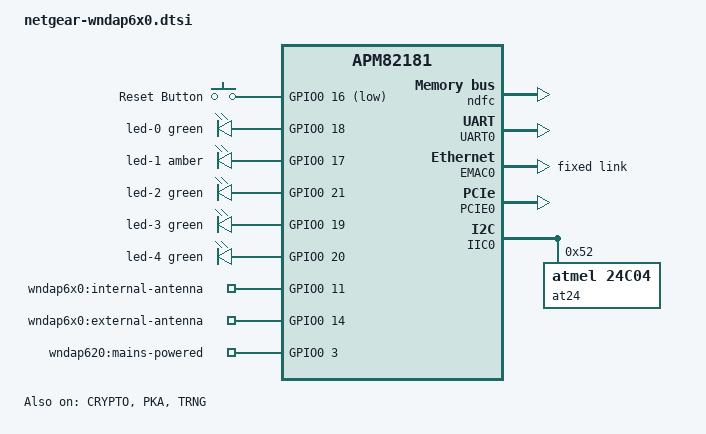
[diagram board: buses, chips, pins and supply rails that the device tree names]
// SPDX-License-Identifier: GPL-2.0-only
/*
 * Device Tree Source for Netgear WNDAP620 and WNDAP660
 */

#include <dt-bindings/leds/common.h>
#include "apm82181.dtsi"

/ {
	aliases {
		serial0 = &UART0;
	};

	chosen {
		stdout-path = "/plb/opb/serial@ef600300";
	};
};

&CRYPTO {
	status = "okay";
};

&PKA {
	status = "okay";
};

&TRNG {
	status = "okay";
};

&ndfc {
	status = "okay";
	/* 32 MiB SLC NAND Flash */

	nand {
		nand-is-boot-medium;

		partitions {
			compatible = "fixed-partitions";
			#address-cells = <1>;
			#size-cells = <1>;

			partition@0 {
				label = "u-boot";
				reg = <0x00000000 0x00100000>;
				read-only;
			};

			partition@100000 {
				label = "u-boot-env";
				reg = <0x00100000 0x0004000>;
				read-only;

				nvmem-layout {
					compatible = "u-boot,env";

					ethaddr {
					};

					bootcmd {
					};

					serno {
					};

					ProductID {
					};

					HardwareVer {
					};
				};
			};

			/* 0x104000 - 0x10ffff free */

			partition@110000 {
				label = "firmware";
				reg = <0x00110000 0x01ac0000>;

				compatible = "fixed-partitions";
				#address-cells = <1>;
				#size-cells = <1>;

				partition@0 {
					/*
					 * The u-boot bootloader will look at this
					 * offset (0x110000) for an uImage binary.
					 */
					label = "kernel";
					reg = <0x00000000 0x005f0000>;
				};

				partition@5f0000 {
					label = "ubi";
					reg = <0x005f0000 0x014d0000>;
				};
			};

			partition@1bd0000 {
				/*
				 * original vendor device-tree - do not use or
				 * overwrite. The original u-boot also supports
				 * the gzipped legacy monolithic/Multi-File Image
				 * format, which is a better choice.
				 */
				label = "device-tree";
				reg = <0x01bd0000 0x0010000>;
				read-only;
			};

			partition@1be0000 {
				label = "var";
				reg = <0x01be0000 0x00400000>;
				read-only;
			};

			partition@1fe0000 {
				label = "manudata";
				reg = <0x01fe0000 0x00020000>;
				read-only;
			};
		};
	};
};

&UART0 {
	status = "okay";
};

&GPIO0 {
	status = "okay";
};

&EMAC0 {
	status = "okay";

	fixed-link {
		speed = <1000>;
		full-duplex;
		pause;
		asym-pause;
	};

	mdio0: mdio {
		#address-cells = <1>;
		#size-cells = <0>;
	};
};

&POB0 {
	keys {
		compatible = "gpio-keys";

		button-restart {
			label = "Reset Button";
			gpios = <&GPIO0 16 GPIO_ACTIVE_LOW>;
			linux,code = <KEY_RESTART>;
			interrupt-parent = <&UIC1>;
			interrupts = <0x15 IRQ_TYPE_EDGE_FALLING>;
			debounce-interval = <60>;
		};
	};

	LEDS: leds {
		compatible = "gpio-leds";

		led-0 {
			color = <LED_COLOR_ID_GREEN>;
			function = LED_FUNCTION_POWER;
			gpios = <&GPIO0 18 GPIO_ACTIVE_HIGH>;
		};

		led-1 {
			color = <LED_COLOR_ID_AMBER>;
			function = LED_FUNCTION_FAULT;
			gpios = <&GPIO0 17 GPIO_ACTIVE_HIGH>;
			panic-indicator;
		};

		led-2 {
			color = <LED_COLOR_ID_GREEN>;
			function = LED_FUNCTION_LAN;
			function-enumerator = <0>;
			gpios = <&GPIO0 21 GPIO_ACTIVE_HIGH>;
		};

		led-3 {
			color = <LED_COLOR_ID_GREEN>;
			function = LED_FUNCTION_WLAN;
			function-enumerator = <0>;
			gpios = <&GPIO0 19 GPIO_ACTIVE_HIGH>;
		};

		led-4 {
			color = <LED_COLOR_ID_GREEN>;
			function = LED_FUNCTION_WLAN;
			function-enumerator = <1>;
			gpios = <&GPIO0 20 GPIO_ACTIVE_HIGH>;
		};
	};

	gpio-export {
		compatible = "gpio-export";

		internal-antenna {
			gpio-export,name = "wndap6x0:internal-antenna";
			gpio-export,output = <1>;
			gpios = <&GPIO0 11 GPIO_ACTIVE_HIGH>;
		};

		external-antenna {
			gpio-export,name = "wndap6x0:external-antenna";
			gpio-export,output = <0>;
			gpios = <&GPIO0 14 GPIO_ACTIVE_HIGH>;
		};

		mains-powered {
			/*
			 * Input pin describing what powers the AP
			 * 0/Low = PoE
			 * 1/High = 12v mains powered
			 */
			gpio-export,name = "wndap620:mains-powered";
			gpios = <&GPIO0 3 GPIO_ACTIVE_HIGH>;
		};
	};

	rtl8367b {
		compatible = "realtek,rtl8367b";
		realtek,extif = <5 1 2 1 1 1 1 1 1 2>;
		mii-bus = <&mdio0>;
	};
};

&PCIE0 {
	status = "okay";
};

&IIC0 {
	status = "okay";

	at24@52 {
		compatible = "atmel,24c04";
		reg = <0x52>;
		pagesize = <16>;
		read-only;
	};
};
